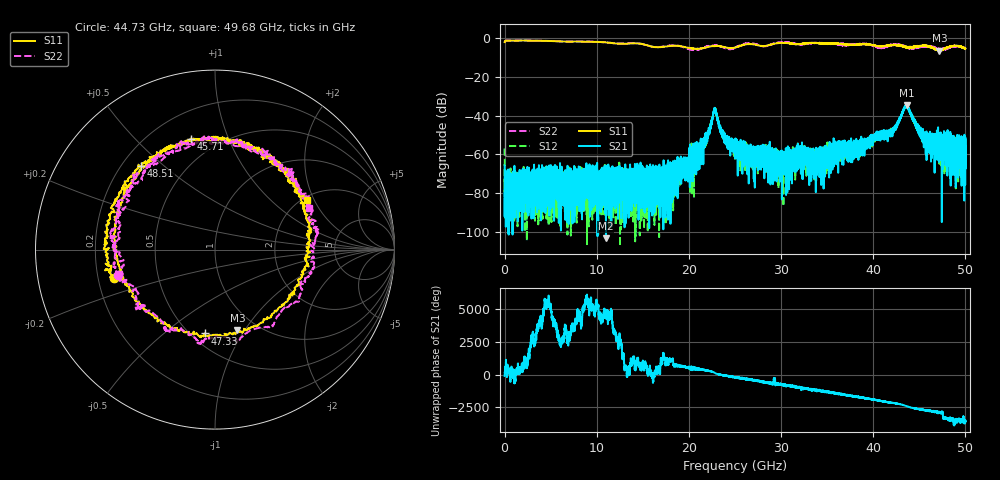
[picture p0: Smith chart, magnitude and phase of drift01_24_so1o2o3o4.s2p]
!Created with skrf (http://scikit-rf.org).
# Hz S RI R 50.0
!freq ReS11 ImS11 ReS21 ImS21 ReS12 ImS12 ReS22 ImS22
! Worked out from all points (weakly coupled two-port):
!   10001 points, 300 kHz to 50 GHz, reference 50 ohm
!   highest |S21| = -34.73 dB at 43.62 GHz (marker M1); lowest = -103.0 dB at 11 GHz (marker M2)
!   lowest |S11| = -6.6 dB at 47.18 GHz (marker M3), VSWR 2.75, Z = 40.4 - j46.5 ohm
!   |S11| at or under -10 dB: nowhere
!   |S22| runs from -6.4 to -1.4 dB; largest |S21 - S12| = 0.0038
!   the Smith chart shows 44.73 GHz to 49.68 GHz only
!   S11 on the Smith chart (normalised r, x): 44.73 GHz: 0.27, -0.13; 45.71 GHz: 0.36, +0.74; 47.33 GHz: 0.58, -0.70; 48.51 GHz: 0.28, +0.42; 49.68 GHz: 2.09, +1.76
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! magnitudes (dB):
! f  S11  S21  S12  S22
! 300 kHz  -2.2  -65.6  -56.9  -2.1
! 255.3 MHz  -1.4  -77.1  -81.8  -1.4
! 8.335 GHz  -1.9  -68.2  -74.5  -1.8
! 11 GHz  -2.3  -103.0  -71.9  -2.4
! 16.67 GHz  -4.8  -72.2  -69.3  -4.8
! 17.62 GHz  -4.4  -75.1  -76.2  -4.2
! 21.11 GHz  -5.6  -59.1  -59.4  -5.9
! 21.93 GHz  -4.8  -49.7  -50.7  -4.3
! 22.8 GHz  -4.3  -36.3  -36.4  -4.0
! 23.81 GHz  -4.7  -51.2  -51.6  -5.0
! 25 GHz  -5.0  -55.4  -56.5  -5.1
! 29.71 GHz  -2.7  -59.9  -60.7  -2.4
! 33.34 GHz  -2.6  -63.7  -60.8  -2.6
! 41.67 GHz  -3.9  -47.9  -49.5  -4.2
! 43.62 GHz  -4.9  -34.7  -35.1  -5.0
! 44.73 GHz  -4.6  -45.0  -45.8  -5.1
! 45.71 GHz  -4.0  -50.1  -51.0  -4.3
! 47.18 GHz  -6.6  -50.5  -56.1  -6.1
! 47.33 GHz  -6.5  -48.7  -52.6  -6.2
! 48.51 GHz  -4.1  -56.9  -57.1  -4.8
! 49.68 GHz  -4.7  -56.6  -54.5  -4.8
! 50 GHz  -5.6  -52.2  -59.7  -5.3
